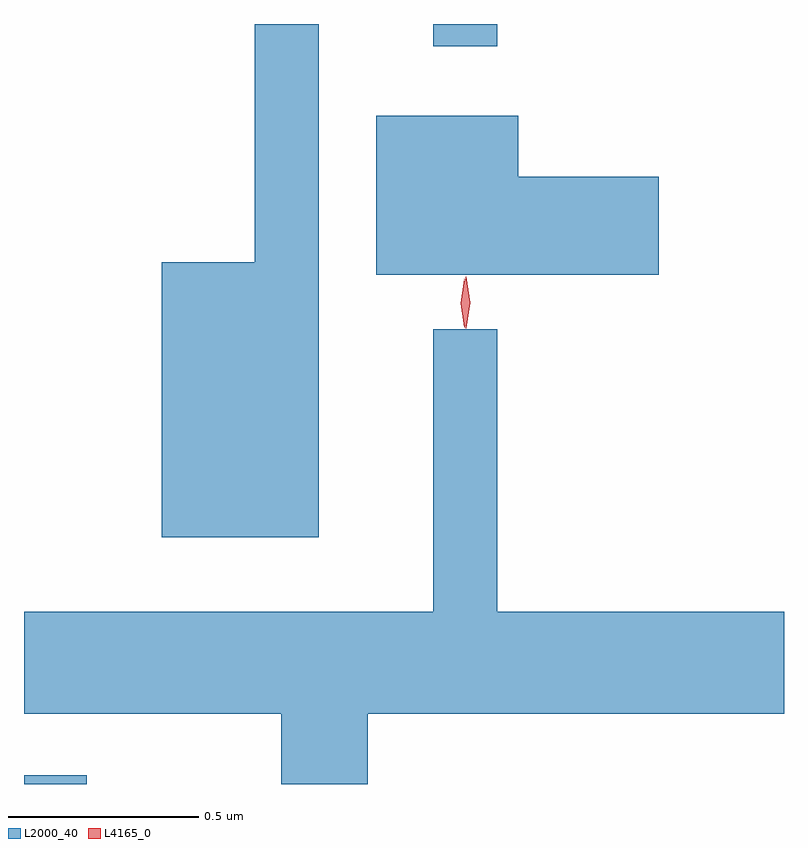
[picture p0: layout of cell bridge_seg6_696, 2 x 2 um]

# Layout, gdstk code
import gdstk
lib = gdstk.Library(unit=1e-6, precision=1e-09)
def R(c, l, rs):  # rectangles x0, y0, x1, y1
    for r in rs: c.add(gdstk.rectangle(r[:2], r[2:], *l))
def P(c, l, *ps):  # polygons
    for p in ps: c.add(gdstk.Polygon(p, *l))
L2000_40 = (2000, 40)
L4165_0 = (4165, 0)

bridge_seg6_696 = lib.new_cell('bridge_seg6_696')
R(bridge_seg6_696, L2000_40, [(231.954,1620.891,232.119,1620.914), (233.031,1622.833,233.199,1622.891)])
P(bridge_seg6_696, L2000_40, [(232.729,1622.891),(232.561,1622.891),(232.561,1622.264),(232.316,1622.264),(232.316,1621.541),(232.729,1621.541)],
  [(233.624,1622.489),(233.254,1622.489),(233.254,1622.649),(232.881,1622.649),(232.881,1622.231),(233.624,1622.231)],
  [(232.859,1621.076),(233.954,1621.076),(233.954,1621.344),(233.199,1621.344),(233.199,1622.088),(233.031,1622.088),(233.031,1621.344),(231.954,1621.344),(231.954,1621.076),(232.631,1621.076),(232.631,1620.891),(232.859,1620.891)])
P(bridge_seg6_696, L4165_0, [(233.112,1622.093),(233.103,1622.156),(233.112,1622.219),(233.112,1622.22),(233.113,1622.219),(233.123,1622.156),(233.114,1622.093),(233.113,1622.093)],
  [(233.117,1622.09),(233.108,1622.158),(233.117,1622.226),(233.118,1622.226),(233.118,1622.226),(233.128,1622.158),(233.118,1622.09),(233.118,1622.09)])

lib.write_gds('bridge_seg6_696.gds')
